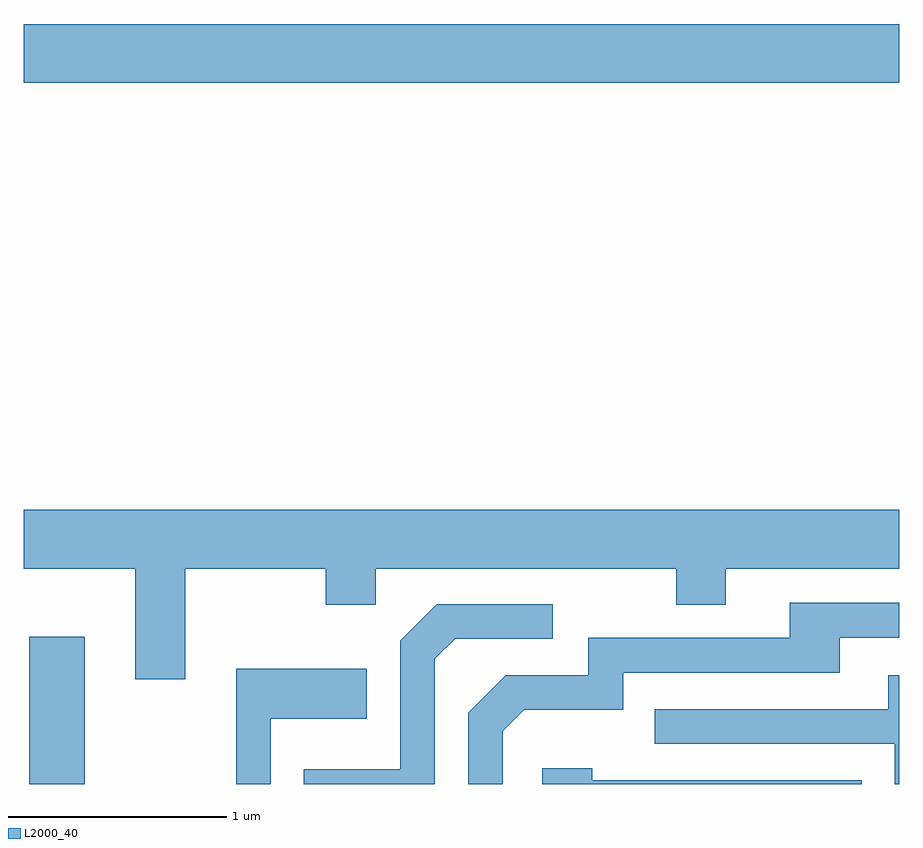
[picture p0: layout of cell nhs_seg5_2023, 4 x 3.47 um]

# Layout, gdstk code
import gdstk
lib = gdstk.Library(unit=1e-6, precision=1e-09)
def R(c, l, rs):  # rectangles x0, y0, x1, y1
    for r in rs: c.add(gdstk.rectangle(r[:2], r[2:], *l))
def P(c, l, *ps):  # polygons
    for p in ps: c.add(gdstk.Polygon(p, *l))
L2000_40 = (2000, 40)

nhs_seg5_2023 = lib.new_cell('nhs_seg5_2023')
R(nhs_seg5_2023, L2000_40, [(245.636,1418.072,245.889,1418.744), (245.611,1421.276,249.611,1421.544)])
P(nhs_seg5_2023, L2000_40, [(246.349,1419.056),(246.991,1419.056),(246.991,1418.891),(247.219,1418.891),(247.219,1419.056),(248.591,1419.056),(248.591,1418.891),(248.819,1418.891),(248.819,1419.056),(249.611,1419.056),(249.611,1419.324),(245.611,1419.324),(245.611,1419.056),(246.121,1419.056),(246.121,1418.551),(246.349,1418.551)],
  [(247.799,1418.314),(247.897,1418.411),(248.349,1418.411),(248.349,1418.581),(249.339,1418.581),(249.339,1418.741),(249.611,1418.741),(249.611,1418.899),(249.111,1418.899),(249.111,1418.739),(248.191,1418.739),(248.191,1418.569),(247.814,1418.569),(247.641,1418.397),(247.641,1418.072),(247.799,1418.072)],
  [(247.489,1418.644),(247.582,1418.736),(248.028,1418.736),(248.028,1418.894),(247.499,1418.894),(247.331,1418.727),(247.331,1418.139),(246.891,1418.139),(246.891,1418.072),(247.489,1418.072)],
  [(246.739,1418.371),(247.179,1418.371),(247.179,1418.599),(246.581,1418.599),(246.581,1418.072),(246.739,1418.072)],
  [(249.611,1418.569),(249.561,1418.569),(249.561,1418.414),(248.493,1418.414),(248.493,1418.256),(249.591,1418.256),(249.591,1418.072),(249.611,1418.072)],
  [(249.439,1418.089),(248.209,1418.089),(248.209,1418.144),(247.981,1418.144),(247.981,1418.072),(249.439,1418.072)])

lib.write_gds('nhs_seg5_2023.gds')
